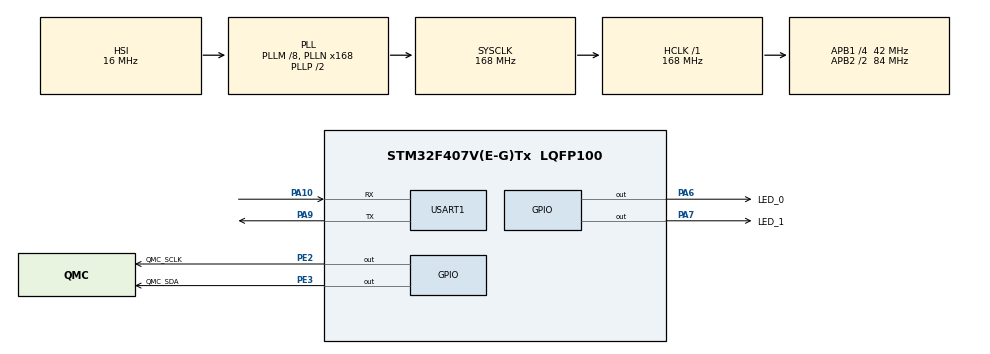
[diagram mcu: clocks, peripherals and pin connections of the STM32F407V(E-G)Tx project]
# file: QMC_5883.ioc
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Mcu.Family=STM32F4
Mcu.Name=STM32F407V(E-G)Tx
Mcu.Package=LQFP100
NVIC.PriorityGroup=NVIC_PRIORITYGROUP_4
PA10.Mode=Asynchronous
PA10.Signal=USART1_RX
PA13.Mode=Serial_Wire
PA13.Signal=SYS_JTMS-SWDIO
PA14.Mode=Serial_Wire
PA14.Signal=SYS_JTCK-SWCLK
PA6.GPIO_Label=LED_0
PA6.GPIO_PuPd=GPIO_PULLUP
PA6.GPIO_Speed=GPIO_SPEED_FREQ_HIGH
PA6.PinState=GPIO_PIN_SET
PA6.Signal=GPIO_Output
PA7.GPIO_Label=LED_1
PA7.GPIO_PuPd=GPIO_PULLUP
PA7.GPIO_Speed=GPIO_SPEED_FREQ_HIGH
PA7.PinState=GPIO_PIN_SET
PA7.Signal=GPIO_Output
PA9.Mode=Asynchronous
PA9.Signal=USART1_TX
PC14-OSC32_IN.Mode=LSE-External-Oscillator
PC14-OSC32_IN.Signal=RCC_OSC32_IN
PC15-OSC32_OUT.Mode=LSE-External-Oscillator
PC15-OSC32_OUT.Signal=RCC_OSC32_OUT
PE2.GPIO_Label=QMC_SCLK
PE2.GPIO_ModeDefaultOutputPP=GPIO_MODE_OUTPUT_PP
PE2.GPIO_PuPd=GPIO_PULLUP
PE2.GPIO_Speed=GPIO_SPEED_FREQ_VERY_HIGH
PE2.PinState=GPIO_PIN_SET
PE2.Signal=GPIO_Output
PE3.GPIO_Label=QMC_SDA
PE3.GPIO_ModeDefaultOutputPP=GPIO_MODE_OUTPUT_PP
PE3.GPIO_PuPd=GPIO_PULLUP
PE3.GPIO_Speed=GPIO_SPEED_FREQ_VERY_HIGH
PE3.PinState=GPIO_PIN_SET
PE3.Signal=GPIO_Output
PH0-OSC_IN.Mode=HSE-External-Oscillator
PH0-OSC_IN.Signal=RCC_OSC_IN
PH1-OSC_OUT.Mode=HSE-External-Oscillator
PH1-OSC_OUT.Signal=RCC_OSC_OUT
ProjectManager.HeapSize=0x200
ProjectManager.StackSize=0x400
ProjectManager.TargetToolchain=Makefile
RCC.48MHZClocksFreq_Value=84000000
RCC.AHBFreq_Value=168000000
RCC.APB1CLKDivider=RCC_HCLK_DIV4
RCC.APB1Freq_Value=42000000
RCC.APB1TimFreq_Value=84000000
RCC.APB2CLKDivider=RCC_HCLK_DIV2
RCC.APB2Freq_Value=84000000
RCC.APB2TimFreq_Value=168000000
RCC.CortexFreq_Value=168000000
RCC.HCLKFreq_Value=168000000
RCC.HSE_VALUE=25000000
RCC.HSI_VALUE=16000000
RCC.PLLM=8
RCC.PLLN=168
RCC.SYSCLKFreq_VALUE=168000000
RCC.SYSCLKSource=RCC_SYSCLKSOURCE_PLLCLK
RCC.VCOOutputFreq_Value=336000000
TIM7.Prescaler=83
USART1.VirtualMode=VM_ASYNC
VP_TIM7_VS_ClockSourceINT.Mode=Enable_Timer
board=custom

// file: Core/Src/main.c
/* USER CODE BEGIN Header */
/**
  ******************************************************************************
  * @file           : main.c
  * @brief          : Main program body
  ******************************************************************************
  * @attention
  *
  * <h2><center>&copy; Copyright (c) 2021 STMicroelectronics.
  * All rights reserved.</center></h2>
  *
  * This software component is licensed by ST under BSD 3-Clause license,
  * the "License"; You may not use this file except in compliance with the
  * License. You may obtain a copy of the License at:
  *                        opensource.org/licenses/BSD-3-Clause
  *
  ******************************************************************************
  */
/* USER CODE END Header */
#include "main.h"
#include "qmc5883.h"

/* USER CODE BEGIN Includes */
#include "stdio.h"
/* USER CODE END Includes */

TIM_HandleTypeDef htim7;

UART_HandleTypeDef huart1;

void SystemClock_Config(void);
static void MX_GPIO_Init(void);
static void MX_USART1_UART_Init(void);
static void MX_TIM7_Init(void);

/* USER CODE BEGIN 0 */
#ifdef __GNUC__
#define PUTCHAR_PROTOTYPE int __io_putchar(int ch)
#else
#define PUTCHAR_PROTOTYPE int fputc(int ch, FILE *f)
#endif
PUTCHAR_PROTOTYPE
{
  while ((USART1->SR & 0X40) == 0);
  USART1->DR = (uint8_t) ch;
  return ch;
}

int _write(int file, char *ptr,int len)
{
int DataIdx;
for (DataIdx=0;DataIdx<len;DataIdx++)
{
  __io_putchar(*ptr++);
}
return len;
}
/* USER CODE END 0 */

int main(void)
{
  /* USER CODE BEGIN 1 */
  uint8_t tem,tem1;
  int32_t raw;
  short mx=0,my=0,mz=0;
  short gx=0,gy=0,gz=0;
  double Mx=0,My=0,Mz=0;
  uint8_t buff[6];
  /* USER CODE END 1 */

  /* MCU Configuration--------------------------------------------------------*/

  /* Reset of all peripherals, Initializes the Flash interface and the Systick. */
  HAL_Init();

  /* Configure the system clock */
  SystemClock_Config();

  /* Initialize all configured peripherals */
  MX_GPIO_Init();
  MX_USART1_UART_Init();
  MX_TIM7_Init();
  /* USER CODE BEGIN 2 */
  // QMC_Init();
  /* USER CODE END 2 */
  QMC_Init();
  /* Infinite loop */
  while (1)
  {

    tem1 = QMC_Read_Byte(QMC_TEMP_H_REG);
    tem = QMC_Read_Byte(QMC_TEMP_L_REG);
    // printf("Tem = %d,Tem1 = %d\r\n",tem,tem1);
    raw=(tem1<<8)|tem;
    // printf("Raw = %d\r\n",raw);
		buff[0] = QMC_Read_Byte(QMC_MAGNETIC_XOUTL_REG);
		buff[1] = QMC_Read_Byte(QMC_MAGNETIC_XOUTH_REG);
		buff[2] = QMC_Read_Byte(QMC_MAGNETIC_YOUTL_REG);
		buff[3] = QMC_Read_Byte(QMC_MAGNETIC_YOUTH_REG);
		buff[4] = QMC_Read_Byte(QMC_MAGNETIC_ZOUTL_REG);
		buff[5] = QMC_Read_Byte(QMC_MAGNETIC_ZOUTH_REG);
			gx = ((uint16_t)buff[1]<<8)|buff[0];
			gy = ((uint16_t)buff[3]<<8)|buff[2];
			gz = ((uint16_t)buff[5]<<8)|buff[4];
//			printf("buff[0]=%d,buff[1]=%d,\r\nbuff[2]=%d,buff[3]=%d,\r\nbuff[4]=%d,buff[5]=%d\r\n\r\n",buff[0],buff[1],buff[2],buff[3],buff[4],buff[5]);
			printf("gx=%hd,gy=%hd,gz=%hd\r\n",gx,gy,gz);
			Mx = (float)gx / 12000;
			Mx = (float)gy / 12000;
			Mx = (float)gz / 12000;
    /* USER CODE BEGIN 3 */
    HAL_GPIO_TogglePin(LED_0_GPIO_Port,LED_0_Pin);
    HAL_Delay(300);
  }
  /* USER CODE END 3 */
}

void SystemClock_Config(void)
{
  RCC_OscInitTypeDef RCC_OscInitStruct = {0};
  RCC_ClkInitTypeDef RCC_ClkInitStruct = {0};

  /** Configure the main internal regulator output voltage
  */
  __HAL_RCC_PWR_CLK_ENABLE();
  __HAL_PWR_VOLTAGESCALING_CONFIG(PWR_REGULATOR_VOLTAGE_SCALE1);
  /** Initializes the RCC Oscillators according to the specified parameters
  * in the RCC_OscInitTypeDef structure.
  */
  RCC_OscInitStruct.OscillatorType = RCC_OSCILLATORTYPE_HSI;
  RCC_OscInitStruct.HSIState = RCC_HSI_ON;
  RCC_OscInitStruct.HSICalibrationValue = RCC_HSICALIBRATION_DEFAULT;
  RCC_OscInitStruct.PLL.PLLState = RCC_PLL_ON;
  RCC_OscInitStruct.PLL.PLLSource = RCC_PLLSOURCE_HSI;
  RCC_OscInitStruct.PLL.PLLM = 8;
  RCC_OscInitStruct.PLL.PLLN = 168;
  RCC_OscInitStruct.PLL.PLLP = RCC_PLLP_DIV2;
  RCC_OscInitStruct.PLL.PLLQ = 4;
  if (HAL_RCC_OscConfig(&RCC_OscInitStruct) != HAL_OK)
  {
    Error_Handler();
  }
  /** Initializes the CPU, AHB and APB buses clocks
  */
  RCC_ClkInitStruct.ClockType = RCC_CLOCKTYPE_HCLK|RCC_CLOCKTYPE_SYSCLK
                              |RCC_CLOCKTYPE_PCLK1|RCC_CLOCKTYPE_PCLK2;
  RCC_ClkInitStruct.SYSCLKSource = RCC_SYSCLKSOURCE_PLLCLK;
  RCC_ClkInitStruct.AHBCLKDivider = RCC_SYSCLK_DIV1;
  RCC_ClkInitStruct.APB1CLKDivider = RCC_HCLK_DIV4;
  RCC_ClkInitStruct.APB2CLKDivider = RCC_HCLK_DIV2;

  if (HAL_RCC_ClockConfig(&RCC_ClkInitStruct, FLASH_LATENCY_5) != HAL_OK)
  {
    Error_Handler();
  }
}

static void MX_TIM7_Init(void)
{

  TIM_MasterConfigTypeDef sMasterConfig = {0};

  htim7.Instance = TIM7;
  htim7.Init.Prescaler = 83;
  htim7.Init.CounterMode = TIM_COUNTERMODE_UP;
  htim7.Init.Period = 65535;
  htim7.Init.AutoReloadPreload = TIM_AUTORELOAD_PRELOAD_DISABLE;
  if (HAL_TIM_Base_Init(&htim7) != HAL_OK)
  {
    Error_Handler();
  }
  sMasterConfig.MasterOutputTrigger = TIM_TRGO_RESET;
  sMasterConfig.MasterSlaveMode = TIM_MASTERSLAVEMODE_DISABLE;
  if (HAL_TIMEx_MasterConfigSynchronization(&htim7, &sMasterConfig) != HAL_OK)
  {
    Error_Handler();
  }

}

static void MX_USART1_UART_Init(void)
{

  huart1.Instance = USART1;
  huart1.Init.BaudRate = 115200;
  huart1.Init.WordLength = UART_WORDLENGTH_8B;
  huart1.Init.StopBits = UART_STOPBITS_1;
  huart1.Init.Parity = UART_PARITY_NONE;
  huart1.Init.Mode = UART_MODE_TX_RX;
  huart1.Init.HwFlowCtl = UART_HWCONTROL_NONE;
  huart1.Init.OverSampling = UART_OVERSAMPLING_16;
  if (HAL_UART_Init(&huart1) != HAL_OK)
  {
    Error_Handler();
  }

}

static void MX_GPIO_Init(void)
{
  GPIO_InitTypeDef GPIO_InitStruct = {0};

  /* GPIO Ports Clock Enable */
  __HAL_RCC_GPIOE_CLK_ENABLE();
  __HAL_RCC_GPIOC_CLK_ENABLE();
  __HAL_RCC_GPIOH_CLK_ENABLE();
  __HAL_RCC_GPIOA_CLK_ENABLE();

  /*Configure GPIO pin Output Level */
  HAL_GPIO_WritePin(GPIOE, QMC_SCLK_Pin|QMC_SDA_Pin, GPIO_PIN_SET);

  /*Configure GPIO pin Output Level */
  HAL_GPIO_WritePin(GPIOA, LED_0_Pin|LED_1_Pin, GPIO_PIN_SET);

  /*Configure GPIO pins : QMC_SCLK_Pin QMC_SDA_Pin */
  GPIO_InitStruct.Pin = QMC_SCLK_Pin|QMC_SDA_Pin;
  GPIO_InitStruct.Mode = GPIO_MODE_OUTPUT_PP;
  GPIO_InitStruct.Pull = GPIO_PULLUP;
  GPIO_InitStruct.Speed = GPIO_SPEED_FREQ_VERY_HIGH;
  HAL_GPIO_Init(GPIOE, &GPIO_InitStruct);

  /*Configure GPIO pins : LED_0_Pin LED_1_Pin */
  GPIO_InitStruct.Pin = LED_0_Pin|LED_1_Pin;
  GPIO_InitStruct.Mode = GPIO_MODE_OUTPUT_PP;
  GPIO_InitStruct.Pull = GPIO_PULLUP;
  GPIO_InitStruct.Speed = GPIO_SPEED_FREQ_HIGH;
  HAL_GPIO_Init(GPIOA, &GPIO_InitStruct);

}

void Error_Handler(void)
{
  __disable_irq();
  while (1)
  {
  }
}

/************************ (C) COPYRIGHT STMicroelectronics *****END OF FILE****/
